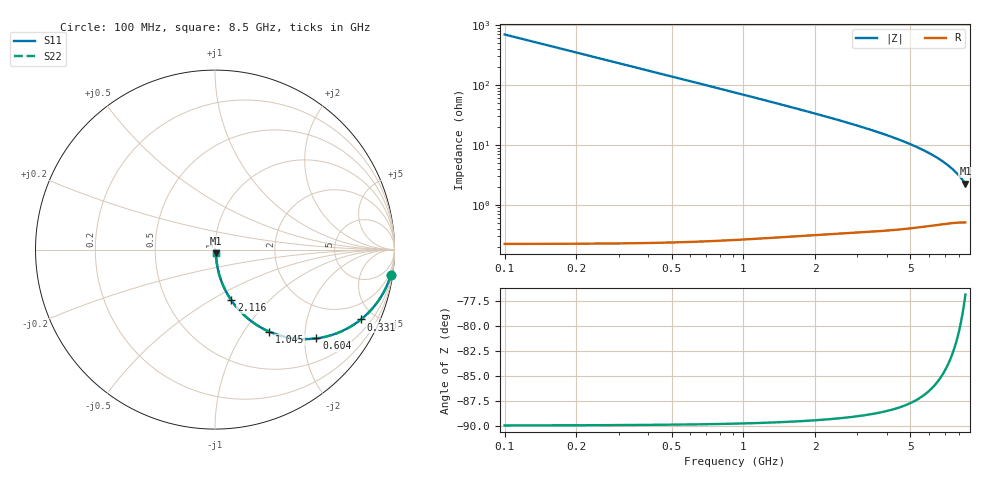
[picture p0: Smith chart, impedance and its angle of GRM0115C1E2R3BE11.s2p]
!Murata Part Number: GRM0115C1E2R3BE11
!These Parameters are Measured in Series Mode Connection
!Data Generated on Mar 30, 2021
!  o--ll--o
!Port1  Port2
!  o------o
!Operation Temp=25[degC], DC Bias Voltage=0[V]
!Freq. Start=100[MHz] Stop=9[GHz] 401[Steps]
# Hz S RI R 50
!Freq.(Hz) S11(Real) S11(Imag) S21(Real) S21(Imag) S12(Real) S12(Imag) S22(Real) S22(Imag)
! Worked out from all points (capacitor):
!   401 points, 100 MHz to 8.5 GHz, reference 50 ohm
!   read as one part in series: C = 2.3 pF near 142 MHz
!   lowest |Z| = 2.23 ohm at 8.5 GHz (marker M1)
!   S11 on the Smith chart (normalised r, x): 100 MHz: 1, -14; 331 MHz: 1.00, -4.18; 604 MHz: 1.00, -2.28; 1.045 GHz: 1.01, -1.31; 2.116 GHz: 1.01, -0.62; 8.5 GHz: 1.01, -0.04
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1e8  0.9795 -0.1416  0.0205 0.1416  0.0205 0.1416  0.9795 -0.1416
1.21e8  0.9703 -0.1697  0.0297 0.1697  0.0297 0.1697  0.9703 -0.1697
1.84e8  0.9338 -0.2484  0.0662 0.2484  0.0662 0.2484  0.9338 -0.2484
2.26e8  0.9033 -0.2951  0.0967 0.2951  0.0967 0.2951  0.9033 -0.2951
2.68e8  0.8692 -0.3368  0.1308 0.3368  0.1308 0.3368  0.8692 -0.3368
3.31e8  0.8131 -0.3892  0.1869 0.3892  0.1869 0.3892  0.8131 -0.3892
3.94e8  0.7542 -0.4299  0.2458 0.4299  0.2458 0.4299  0.7542 -0.4299
4.57e8  0.695 -0.4596  0.305 0.4596  0.305 0.4596  0.695 -0.4596
6.04e8  0.5654 -0.4947  0.4346 0.4947  0.4346 0.4947  0.5654 -0.4947
8.14e8  0.4161 -0.4914  0.5839 0.4914  0.5839 0.4914  0.4161 -0.4914
1.045e9  0.3004 -0.4564  0.6996 0.4564  0.6996 0.4564  0.3004 -0.4564
1.255e9  0.2281 -0.417  0.7719 0.417  0.7719 0.417  0.2281 -0.417
1.507e9  0.1686 -0.3712  0.8314 0.3712  0.8314 0.3712  0.1686 -0.3712
1.78e9  0.1255 -0.3273  0.8745 0.3273  0.8745 0.3273  0.1255 -0.3273
2.116e9  0.0907 -0.2821  0.9093 0.2821  0.9093 0.2821  0.0907 -0.2821
2.914e9  0.0476 -0.2051  0.9524 0.2051  0.9524 0.2051  0.0476 -0.2051
4.3e9  0.0201 -0.1266  0.9799 0.1266  0.9799 0.1266  0.0201 -0.1266
5.707e9  0.0106 -0.079  0.9894 0.079  0.9894 0.079  0.0106 -0.079
6.484e9  0.00817 -0.0596  0.9918 0.0596  0.9918 0.0596  0.00817 -0.0596
7.114e9  0.00696 -0.0462  0.993 0.0462  0.993 0.0462  0.00696 -0.0462
7.849e9  0.00605 -0.0324  0.994 0.0324  0.994 0.0324  0.00605 -0.0324
8.5e9  0.00551 -0.0215  0.9945 0.0215  0.9945 0.0215  0.00551 -0.0215
